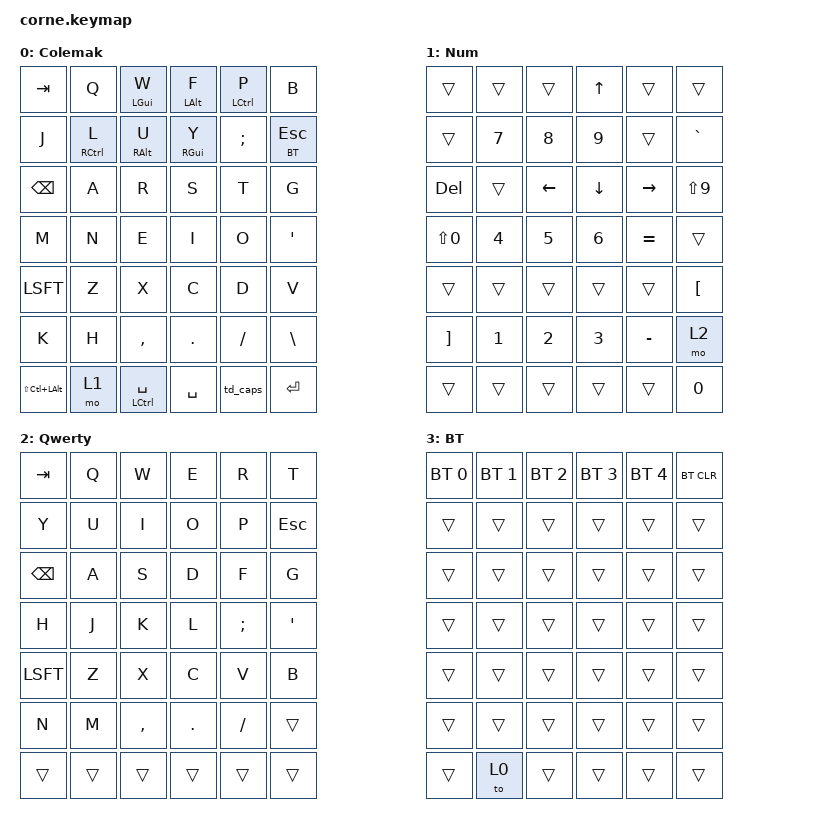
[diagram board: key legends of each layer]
/*
 * Copyright (c) 2020 The ZMK Contributors
 *
 * SPDX-License-Identifier: MIT
 */

#include "zmk-helpers/helper.h"
#include "zmk-helpers/key-labels/42.h"
#include <behaviors.dtsi>
#include <dt-bindings/zmk/keys.h>
#include <dt-bindings/zmk/bt.h>

#define KEYS_L LT0 LT1 LT2 LT3 LT4 LM0 LM1 LM2 LM3 LM4 LB0 LB1 LB2 LB3 LB4
#define KEYS_R RT0 RT1 RT2 RT3 RT4 RM0 RM1 RM2 RM3 RM4 RB0 RB1 RB2 RB3 RB4
#define KEYS_T LH2 LH1 LH0 RH0 RH1 RH2
#define HM_TAPPING_TERM 300
#define HM_TAPPING_TERM_FAST 200
#define HM_PRIOR_IDLE 150
#define BT 3
#define CTLRP &hm_l LCTRL P //mod-tap ctrl for left hand
#define ALT_F &hm_l LALT F //mod-tap alt for left hand
#define GUI_W &hm_l LGUI W //mod-tap windows for left hand
#define CTL_L &hm_r RCTRL L //mod-tap ctrl for right hand
#define ALT_U &hm_r RALT U //mod-tap alt for right hand
#define GUI_Y &hm_r RGUI Y //mod-tap windows for right hand
#define CTLSPC &hm_ctrl_l LCTRL SPACE

/ {
  behaviors {        hm_l: homerow_mods_left {
            compatible = "zmk,behavior-hold-tap";
            #binding-cells = <2>;
            bindings = <&kp>,  <&kp>;

            flavor = "tap-preferred";
            tapping-term-ms = <HM_TAPPING_TERM>;
            quick-tap-ms = <HM_TAPPING_TERM_FAST>;                // repeat on tap-into-hold
            require-prior-idle-ms = <HM_PRIOR_IDLE>;

            hold-trigger-key-positions = <KEYS_R KEYS_T>;
            hold-trigger-on-release;
        };

        hm_r: homerow_mods_right {
            compatible = "zmk,behavior-hold-tap";
            #binding-cells = <2>;
            bindings = <&kp>, <&kp>;

            flavor = "tap-preferred";
            tapping-term-ms = <HM_TAPPING_TERM>;
            quick-tap-ms = <HM_TAPPING_TERM_FAST>;
            require-prior-idle-ms = <HM_PRIOR_IDLE>;

            hold-trigger-key-positions = <KEYS_L KEYS_T>;
            hold-trigger-on-release;
        };

        hm_ctrl_l: hm_ctrl_l {
          compatible = "zmk,behavior-hold-tap"; 
          #binding-cells = <2>; 
          bindings = <&kp>, <&kp>;

          flavor = "hold-preferred";
          tapping-term-ms = <HM_TAPPING_TERM_FAST>;
          quick-tap-ms = <175>;
          require-prior-idle-ms = <HM_PRIOR_IDLE>;
        };

        td_caps: tap_dance_0 {
          compatible = "zmk,behavior-tap-dance";
          #binding-cells = <0>;
          tapping-term-ms = <200>;
          bindings = <&kp RSFT>, <&caps_word>, <&kp CAPS>;
        };
  };

  keymap {
    compatible = "zmk,keymap";

    default_layer {
      display-name = "Colemak";
      bindings = <
        &kp TAB     &kp Q      GUI_W   ALT_F   CTLRP       &kp B
        &kp J       CTL_L      ALT_U   GUI_Y   &kp SCLN    &lt BT ESC

        &kp BSPC    &kp A      &kp R   &kp S   &kp T       &kp G
        &kp M       &kp N      &kp E   &kp I   &kp O       &kp QUOT

        &kp LSFT    &kp Z      &kp X        &kp C        &kp D         &kp V
        &kp K       &kp H      &kp COMMA    &kp DOT      &kp FSLH      &kp BSLH

                     &kp LS(LC(LALT))  &mo 1   CTLSPC  &kp SPACE   &td_caps &kp ENTER
      >;
    };

    layer_1 {
      display-name = "Num";
      bindings = <
        &trans      &trans     &trans       &kp UP       &trans        &trans
        &trans      &kp N7      &kp N8        &kp N9        &trans        &kp GRAVE

        &kp DEL     &trans     &kp LEFT     &kp DOWN     &kp RIGHT     &kp LS(N9)
        &kp  LS(N0)       &kp N4      &kp N5        &kp N6        &kp EQUAL     &trans

        &trans      &trans     &trans       &trans       &trans        &kp LBKT
        &kp RBKT    &kp N1      &kp N2        &kp N3        &kp MINUS     &mo 2

                     &trans    &trans        &trans       &trans        &trans   &kp N0
      >;
    };

    layer_2 {
      display-name = "Qwerty";
      bindings = <
        &kp TAB     &kp Q      &kp W        &kp E        &kp R         &kp T
        &kp Y       &kp U      &kp I        &kp O        &kp P         &kp ESC

        &kp BSPC    &kp A      &kp S        &kp D        &kp F         &kp G
        &kp H       &kp J      &kp K        &kp L        &kp SCLN      &kp QUOT

        &kp LSFT    &kp Z      &kp X        &kp C        &kp V         &kp B
        &kp N       &kp M      &kp COMMA    &kp DOT      &kp SLASH     &trans

                     &trans    &trans        &trans       &trans        &trans   &trans
      >;
    };

    layer_3 {
      display-name = "BT";
      bindings = <
        &bt BT_SEL 0  &bt BT_SEL 1  &bt BT_SEL 2  &bt BT_SEL 3  &bt BT_SEL 4  &bt BT_CLR
        &trans        &trans        &trans        &trans        &trans        &trans

        &trans        &trans        &trans        &trans        &trans        &trans
        &trans        &trans        &trans        &trans        &trans        &trans

        &trans        &trans        &trans        &trans        &trans        &trans
        &trans        &trans        &trans        &trans        &trans        &trans

                        &trans      &to 0         &trans        &trans        &trans  &trans
      >;
    };
  };
};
